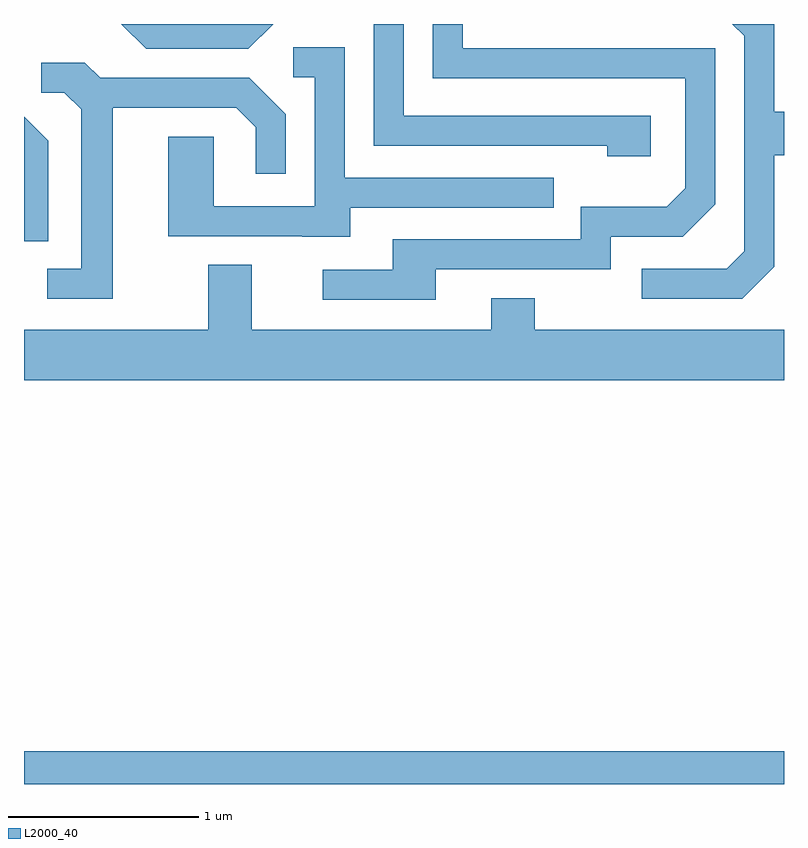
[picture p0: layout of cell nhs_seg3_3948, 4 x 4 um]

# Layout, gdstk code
import gdstk
lib = gdstk.Library(unit=1e-6, precision=1e-09)
def R(c, l, rs):  # rectangles x0, y0, x1, y1
    for r in rs: c.add(gdstk.rectangle(r[:2], r[2:], *l))
def P(c, l, *ps):  # polygons
    for p in ps: c.add(gdstk.Polygon(p, *l))
L2000_40 = (2000, 40)

nhs_seg3_3948 = lib.new_cell('nhs_seg3_3948')
R(nhs_seg3_3948, L2000_40, [(301.611,1123.892,305.611,1124.064)])
P(nhs_seg3_3948, L2000_40, [(302.923,1127.892),(302.123,1127.892),(302.254,1127.761),(302.792,1127.761)],
  [(304.909,1127.409),(303.609,1127.409),(303.609,1127.892),(303.451,1127.892),(303.451,1127.251),(304.681,1127.251),(304.681,1127.196),(304.909,1127.196)],
  [(305.559,1126.614),(305.559,1127.201),(305.611,1127.201),(305.611,1127.429),(305.559,1127.429),(305.559,1127.892),(305.338,1127.892),(305.401,1127.829),(305.401,1126.697),(305.309,1126.604),(304.863,1126.604),(304.863,1126.446),(305.392,1126.446)],
  [(303.779,1126.601),(304.699,1126.601),(304.699,1126.771),(305.077,1126.771),(305.249,1126.944),(305.249,1127.764),(303.919,1127.764),(303.919,1127.892),(303.761,1127.892),(303.761,1127.606),(305.091,1127.606),(305.091,1127.027),(304.994,1126.929),(304.541,1126.929),(304.541,1126.759),(303.551,1126.759),(303.551,1126.599),(303.183,1126.599),(303.183,1126.441),(303.779,1126.441)],
  [(303.329,1126.926),(304.398,1126.926),(304.398,1127.084),(303.299,1127.084),(303.299,1127.769),(303.028,1127.769),(303.028,1127.611),(303.141,1127.611),(303.141,1126.934),(302.609,1126.934),(302.609,1127.299),(302.371,1127.299),(302.371,1126.776),(303.075,1126.776),(303.075,1126.771),(303.329,1126.771)],
  [(302.079,1127.451),(302.729,1127.451),(302.831,1127.349),(302.831,1127.103),(302.989,1127.103),(302.989,1127.417),(302.797,1127.609),(302.012,1127.609),(301.932,1127.689),(301.703,1127.689),(301.703,1127.531),(301.824,1127.531),(301.911,1127.444),(301.911,1126.604),(301.733,1126.604),(301.733,1126.446),(302.079,1126.446)],
  [(301.739,1127.277),(301.611,1127.405),(301.611,1126.748),(301.739,1126.748)],
  [(305.611,1126.284),(304.299,1126.284),(304.299,1126.449),(304.071,1126.449),(304.071,1126.284),(302.809,1126.284),(302.809,1126.624),(302.581,1126.624),(302.581,1126.284),(301.611,1126.284),(301.611,1126.016),(305.611,1126.016)])

lib.write_gds('nhs_seg3_3948.gds')
